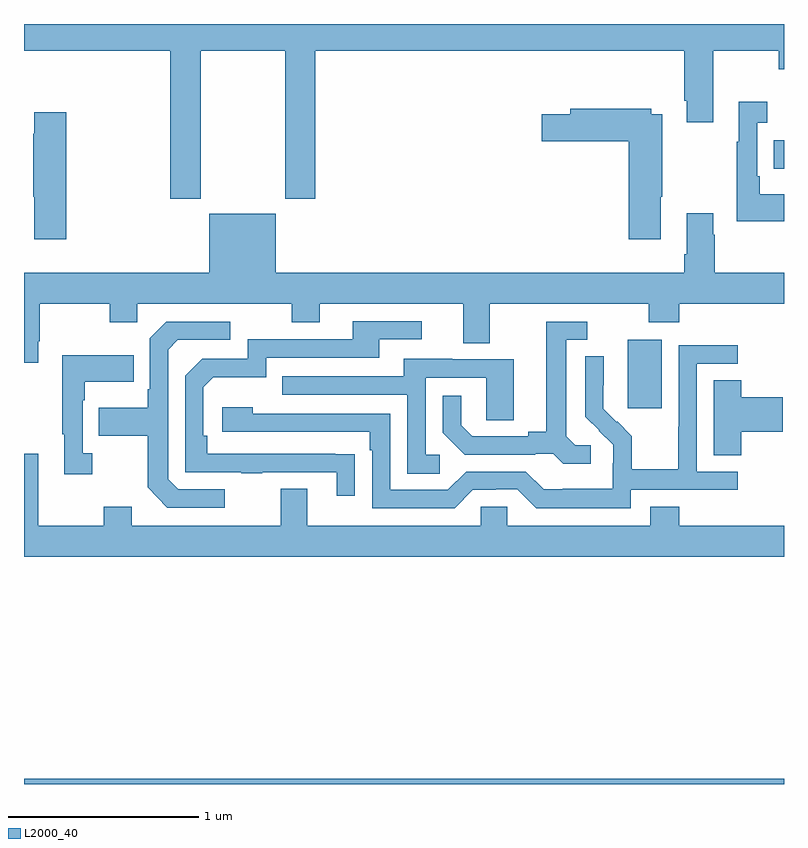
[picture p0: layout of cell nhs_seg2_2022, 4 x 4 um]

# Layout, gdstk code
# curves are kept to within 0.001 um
import gdstk
lib = gdstk.Library(unit=1e-6, precision=1e-09)
def R(c, l, rs):  # rectangles x0, y0, x1, y1
    for r in rs: c.add(gdstk.rectangle(r[:2], r[2:], *l))
def P(c, l, *ps):  # polygons
    for p in ps: c.add(gdstk.Polygon(p, *l))
L2000_40 = (2000, 40)

nhs_seg2_2022 = lib.new_cell('nhs_seg2_2022')
R(nhs_seg2_2022, L2000_40, [(217,619.8,221,619.828), (220.178,621.777,220.357,622.138), (220.945,623.039,221,623.187)])
P(nhs_seg2_2022, L2000_40, [(217.929,623.66),(218.374,623.66),(218.374,622.881),(218.534,622.881),(218.534,623.66),(220.475,623.66),(220.475,623.395),(220.487,623.395),(220.487,623.283),(220.627,623.283),(220.627,623.66),(220.972,623.66),(220.972,623.561),(221,623.561),(221,623.8),(217,623.8),(217,623.66),(217.769,623.66),(217.769,622.881),(217.929,622.881)],
  [(221,622.903),(220.873,622.903),(220.873,622.999),(220.86,622.999),(220.86,623.279),(220.912,623.279),(220.912,623.392),(220.763,623.392),(220.763,623.179),(220.752,623.179),(220.752,622.763),(221,622.763)],
  [(220.351,622.891),(220.359,622.891),(220.359,623.326),(220.302,623.326),(220.302,623.355),(219.875,623.355),(219.875,623.325),(219.726,623.325),(219.726,623.183),(220.184,623.183),(220.184,622.668),(220.351,622.668)],
  [(217.223,623.335),(217.055,623.335),(217.055,623.222),(217.048,623.222),(217.048,622.891),(217.055,622.891),(217.055,622.668),(217.223,622.668)],
  [(217.075,622.129),(217.083,622.129),(217.083,622.328),(217.45,622.328),(217.45,622.229),(217.596,622.229),(217.596,622.328),(218.41,622.328),(218.41,622.229),(218.557,622.229),(218.557,622.328),(219.311,622.328),(219.311,622.12),(219.451,622.12),(219.451,622.328),(220.288,622.328),(220.288,622.229),(220.448,622.229),(220.448,622.328),(221,622.328),(221,622.492),(220.635,622.492),(220.635,622.691),(220.627,622.691),(220.627,622.804),(220.487,622.804),(220.487,622.588),(220.475,622.588),(220.475,622.492),(218.326,622.492),(218.326,622.801),(217.976,622.801),(217.976,622.492),(217,622.492),(217,622.017),(217.075,622.017)],
  [(218.741,621.536),(217.964,621.537),(217.964,621.634),(217.944,621.634),(217.944,621.888),(217.997,621.941),(218.274,621.941),(218.274,622.044),(218.869,622.044),(218.869,622.14),(219.094,622.14),(219.094,622.236),(218.729,622.236),(218.729,622.14),(218.178,622.14),(218.178,622.038),(217.938,622.038),(217.848,621.948),(217.848,621.441),(218.143,621.441),(218.143,621.436),(218.255,621.436),(218.255,621.441),(218.645,621.441),(218.645,621.318),(218.741,621.318)],
  [(219.982,621.582),(219.9,621.582),(219.853,621.629),(219.853,622.137),(219.964,622.137),(219.964,622.233),(219.749,622.233),(219.749,621.653),(219.653,621.653),(219.653,621.63),(219.358,621.63),(219.301,621.687),(219.301,621.844),(219.204,621.844),(219.204,621.65),(219.32,621.534),(219.692,621.534),(219.692,621.537),(219.786,621.537),(219.838,621.485),(219.982,621.485)],
  [(218.056,621.351),(217.812,621.351),(217.758,621.405),(217.758,622.086),(217.809,622.137),(218.086,622.137),(218.086,622.233),(217.749,622.233),(217.662,622.146),(217.662,621.877),(217.65,621.877),(217.65,621.781),(217.393,621.781),(217.393,621.634),(217.65,621.634),(217.65,621.361),(217.755,621.255),(218.056,621.255)],
  [(220.194,621.348),(220.756,621.348),(220.756,621.444),(220.542,621.444),(220.542,622.011),(220.756,622.011),(220.756,622.11),(220.446,622.11),(220.446,621.68),(220.444,621.68),(220.444,621.457),(220.199,621.457),(220.199,621.631),(220.122,621.708),(220.119,621.705),(220.049,621.776),(220.05,622.052),(219.954,622.052),(219.954,621.734),(220.1,621.586),(220.1,621.489),(220.098,621.489),(220.098,621.355),(219.835,621.355),(219.835,621.351),(219.735,621.351),(219.642,621.444),(219.327,621.444),(219.231,621.348),(218.928,621.348),(218.928,621.75),(218.204,621.75),(218.204,621.784),(218.043,621.784),(218.043,621.654),(218.819,621.654),(218.819,621.557),(218.832,621.557),(218.832,621.252),(219.267,621.252),(219.363,621.348),(219.482,621.348),(219.482,621.351),(219.597,621.351),(219.697,621.251),(220.194,621.251)],
  [(217.36,621.542),(217.308,621.542),(217.308,621.821),(217.321,621.821),(217.321,621.917),(217.577,621.917),(217.577,622.057),(217.2,622.057),(217.2,621.641),(217.211,621.641),(217.211,621.429),(217.36,621.429)],
  [(219.187,621.534),(219.114,621.534),(219.114,621.939),(219.432,621.939),(219.432,621.715),(219.577,621.715),(219.577,622.035),(219.253,622.035),(219.253,622.039),(218.999,622.039),(218.999,621.945),(218.359,621.945),(218.359,621.849),(219.018,621.849),(219.018,621.433),(219.187,621.433)],
  [(220.775,621.653),(220.993,621.653),(220.993,621.836),(220.775,621.836),(220.775,621.926),(220.631,621.926),(220.631,621.529),(220.775,621.529)],
  [(221,621.16),(220.448,621.16),(220.448,621.259),(220.295,621.259),(220.295,621.16),(219.543,621.16),(219.543,621.258),(219.405,621.258),(219.405,621.16),(218.491,621.16),(218.491,621.355),(218.351,621.355),(218.351,621.16),(217.567,621.16),(217.567,621.259),(217.42,621.259),(217.42,621.16),(217.075,621.16),(217.075,621.538),(217,621.538),(217,620.996),(221,620.996)])

lib.write_gds('nhs_seg2_2022.gds')
